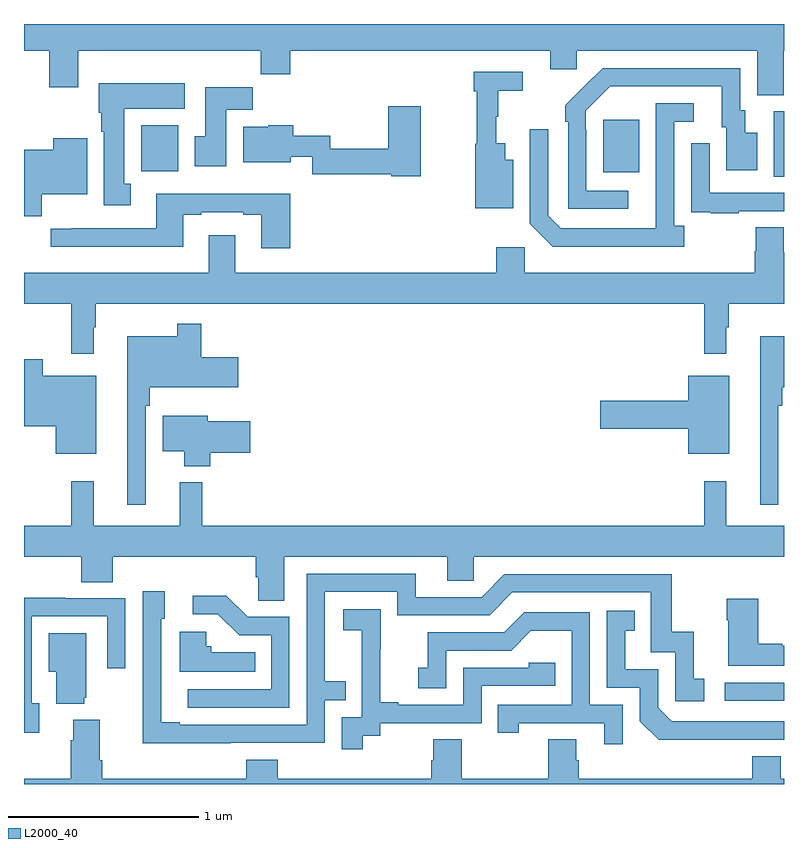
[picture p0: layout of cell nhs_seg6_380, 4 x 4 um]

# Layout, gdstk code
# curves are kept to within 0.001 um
import gdstk
lib = gdstk.Library(unit=1e-6, precision=1e-09)
def R(c, l, rs):  # rectangles x0, y0, x1, y1
    for r in rs: c.add(gdstk.rectangle(r[:2], r[2:], *l))
def P(c, l, *ps):  # polygons
    for p in ps: c.add(gdstk.Polygon(p, *l))
L2000_40 = (2000, 40)

nhs_seg6_380 = lib.new_cell('nhs_seg6_380')
R(nhs_seg6_380, L2000_40, [(136.689,919.938,137,920.034), (136.946,922.696,137,923.04), (136.049,922.721,136.237,922.996), (133.616,922.724,133.813,922.966)])
P(nhs_seg6_380, L2000_40, [(133,923.36),(133.133,923.36),(133.133,923.166),(133.285,923.166),(133.285,923.36),(134.245,923.36),(134.245,923.236),(134.402,923.236),(134.402,923.36),(135.77,923.36),(135.77,923.262),(135.909,923.262),(135.909,923.36),(136.859,923.36),(136.859,923.125),(136.999,923.125),(136.999,923.36),(137,923.36),(137,923.5),(133,923.5)],
  [(136.18,922.623),(135.96,922.623),(135.96,922.943),(135.957,922.943),(135.957,923.043),(136.086,923.172),(136.673,923.172),(136.673,922.956),(136.697,922.956),(136.697,922.731),(136.858,922.731),(136.858,922.927),(136.795,922.927),(136.795,923.046),(136.77,923.046),(136.77,923.268),(136.046,923.268),(135.849,923.073),(135.849,922.985),(135.864,922.985),(135.864,922.527),(136.18,922.527)],
  [(135.574,922.786),(135.532,922.786),(135.532,922.873),(135.485,922.873),(135.485,923.013),(135.496,923.013),(135.496,923.149),(135.625,923.149),(135.625,923.25),(135.367,923.25),(135.367,923.147),(135.382,923.147),(135.382,922.869),(135.374,922.869),(135.374,922.529),(135.574,922.529)],
  [(133.561,922.658),(133.528,922.658),(133.528,923.054),(133.846,923.054),(133.846,923.188),(133.394,923.188),(133.394,923.034),(133.406,923.034),(133.406,922.934),(133.421,922.934),(133.421,922.545),(133.561,922.545)],
  [(134.065,923.048),(134.204,923.048),(134.204,923.167),(133.955,923.167),(133.955,922.908),(133.898,922.908),(133.898,922.752),(134.065,922.752)],
  [(136.474,922.438),(136.422,922.438),(136.422,922.986),(136.525,922.986),(136.525,923.082),(136.326,923.082),(136.325,922.425),(135.825,922.425),(135.759,922.491),(135.759,922.945),(135.663,922.945),(135.663,922.449),(135.784,922.328),(136.474,922.328)],
  [(135.088,923.068),(134.918,923.068),(134.918,922.844),(134.613,922.844),(134.613,922.912),(134.417,922.912),(134.417,922.966),(134.286,922.966),(134.286,922.96),(134.153,922.96),(134.153,922.772),(134.404,922.772),(134.404,922.802),(134.517,922.802),(134.517,922.708),(134.934,922.708),(134.934,922.7),(135.088,922.7)],
  [(133.093,922.604),(133.333,922.604),(133.333,922.9),(133.154,922.9),(133.154,922.837),(133,922.837),(133,922.489),(133.093,922.489)],
  [(136.763,922.515),(137,922.515),(137,922.611),(136.608,922.611),(136.608,922.873),(136.512,922.873),(136.512,922.618),(136.513,922.618),(136.513,922.509),(136.615,922.509),(136.615,922.503),(136.763,922.503)],
  [(134.402,922.606),(133.697,922.606),(133.697,922.425),(133.249,922.425),(133.249,922.423),(133.14,922.423),(133.14,922.328),(133.837,922.328),(133.837,922.497),(133.933,922.497),(133.933,922.509),(134.153,922.509),(134.153,922.497),(134.249,922.497),(134.249,922.32),(134.402,922.32)],
  [(133.366,921.905),(133.378,921.905),(133.378,922.028),(136.579,922.028),(136.579,921.765),(136.696,921.765),(136.696,921.905),(136.708,921.905),(136.708,922.028),(137,922.028),(137,922.298),(136.999,922.298),(136.999,922.43),(136.852,922.43),(136.852,922.305),(136.847,922.305),(136.847,922.192),(135.636,922.192),(135.636,922.324),(135.485,922.324),(135.485,922.192),(134.113,922.192),(134.113,922.387),(133.973,922.387),(133.973,922.192),(133,922.192),(133,922.028),(133.249,922.028),(133.249,921.765),(133.366,921.765)],
  [(133.641,921.491),(133.661,921.491),(133.661,921.587),(134.128,921.587),(134.128,921.745),(133.934,921.745),(133.934,921.922),(133.806,921.922),(133.806,921.856),(133.544,921.856),(133.544,920.97),(133.641,920.97)],
  [(136.971,921.491),(136.991,921.491),(136.991,921.587),(137,921.587),(137,921.856),(136.874,921.856),(136.874,920.97),(136.971,920.97)],
  [(133.381,921.649),(133.098,921.649),(133.098,921.736),(133,921.736),(133,921.383),(133.166,921.383),(133.166,921.239),(133.381,921.239)],
  [(136.711,921.649),(136.496,921.649),(136.496,921.518),(136.032,921.518),(136.032,921.371),(136.496,921.371),(136.496,921.239),(136.711,921.239)],
  [(133.979,921.244),(134.191,921.244),(134.191,921.409),(133.966,921.409),(133.966,921.439),(133.73,921.439),(133.73,921.251),(133.844,921.251),(133.844,921.173),(133.979,921.173)],
  [(134.371,920.696),(135.227,920.696),(135.227,920.569),(135.366,920.569),(135.366,920.696),(137,920.696),(137,920.86),(136.697,920.86),(136.697,921.094),(136.579,921.094),(136.579,920.86),(133.937,920.86),(133.937,921.088),(133.82,921.088),(133.82,920.86),(133.367,920.86),(133.367,921.094),(133.249,921.094),(133.249,920.86),(133,920.86),(133,920.696),(133.301,920.696),(133.301,920.563),(133.466,920.563),(133.466,920.696),(134.219,920.696),(134.219,920.587),(134.232,920.587),(134.232,920.464),(134.371,920.464)],
  [(134.087,919.716),(134.583,919.716),(134.583,919.941),(134.693,919.941),(134.693,920.042),(134.583,920.042),(134.583,920.511),(134.964,920.511),(134.964,920.388),(135.45,920.388),(135.57,920.508),(136.299,920.508),(136.299,920.193),(136.428,920.193),(136.428,919.935),(136.579,919.935),(136.579,920.055),(136.526,920.055),(136.526,920.302),(136.408,920.302),(136.408,920.604),(135.528,920.604),(135.408,920.484),(135.061,920.484),(135.061,920.607),(134.487,920.607),(134.487,919.812),(133.819,919.812),(133.819,919.825),(133.722,919.825),(133.722,920.37),(133.741,920.37),(133.741,920.515),(133.626,920.515),(133.626,920.021),(133.624,920.021),(133.624,919.715)],
  [(134.397,920.379),(134.178,920.379),(134.065,920.492),(133.887,920.492),(133.887,920.394),(134.021,920.394),(134.132,920.283),(134.301,920.283),(134.301,919.998),(133.863,919.998),(133.863,919.902),(134.397,919.902)],
  [(133.081,919.926),(133.041,919.926),(133.041,920.382),(133.437,920.382),(133.437,920.109),(133.533,920.109),(133.533,920.478),(133.217,920.478),(133.217,920.48),(133,920.48),(133,919.77),(133.081,919.77)],
  [(137,920.227),(136.991,920.227),(136.991,920.237),(136.864,920.237),(136.864,920.476),(136.699,920.476),(136.699,920.363),(136.706,920.363),(136.706,920.123),(137,920.123)],
  [(134.782,919.753),(134.874,919.753),(134.874,919.821),(135.408,919.821),(135.408,920.016),(135.797,920.016),(135.797,920.139),(135.657,920.139),(135.657,920.112),(135.312,920.112),(135.312,919.917),(134.971,919.917),(134.971,919.93),(134.876,919.93),(134.876,920.213),(134.877,920.213),(134.877,920.419),(134.679,920.419),(134.679,920.309),(134.777,920.309),(134.777,920.081),(134.778,920.081),(134.778,919.851),(134.673,919.851),(134.673,919.683),(134.782,919.683)],
  [(136.748,919.734),(137,919.734),(137,919.83),(136.41,919.83),(136.338,919.902),(136.338,920.103),(136.165,920.103),(136.165,920.307),(136.214,920.307),(136.214,920.413),(136.068,920.413),(136.068,920.007),(136.242,920.007),(136.242,919.83),(136.34,919.733)],
  [(136.152,919.917),(135.978,919.917),(135.978,920.403),(135.632,920.403),(135.527,920.298),(135.124,920.298),(135.124,920.113),(135.075,920.113),(135.075,920.004),(135.222,920.004),(135.222,920.202),(135.564,920.202),(135.668,920.306),(135.882,920.306),(135.882,919.917),(135.493,919.917),(135.493,919.77),(135.604,919.77),(135.604,919.821),(136.055,919.821),(136.055,919.71),(136.152,919.71)],
  [(134.216,920.194),(133.986,920.194),(133.986,920.226),(133.959,920.226),(133.959,920.302),(133.82,920.302),(133.82,920.09),(134.216,920.09)],
  [(133.316,919.953),(133.327,919.953),(133.327,920.293),(133.13,920.293),(133.13,920.09),(133.169,920.09),(133.169,919.922),(133.316,919.922)],
  [(137,919.528),(136.984,919.528),(136.984,919.645),(136.832,919.645),(136.832,919.528),(135.92,919.528),(135.92,919.626),(135.907,919.626),(135.907,919.736),(135.76,919.736),(135.76,919.528),(135.303,919.528),(135.303,919.736),(135.155,919.736),(135.155,919.626),(135.143,919.626),(135.143,919.528),(134.336,919.528),(134.336,919.627),(134.171,919.627),(134.171,919.528),(133.412,919.528),(133.412,919.624),(133.399,919.624),(133.399,919.837),(133.259,919.837),(133.259,919.73),(133.247,919.73),(133.247,919.528),(133,919.528),(133,919.5),(137,919.5)])

lib.write_gds('nhs_seg6_380.gds')
